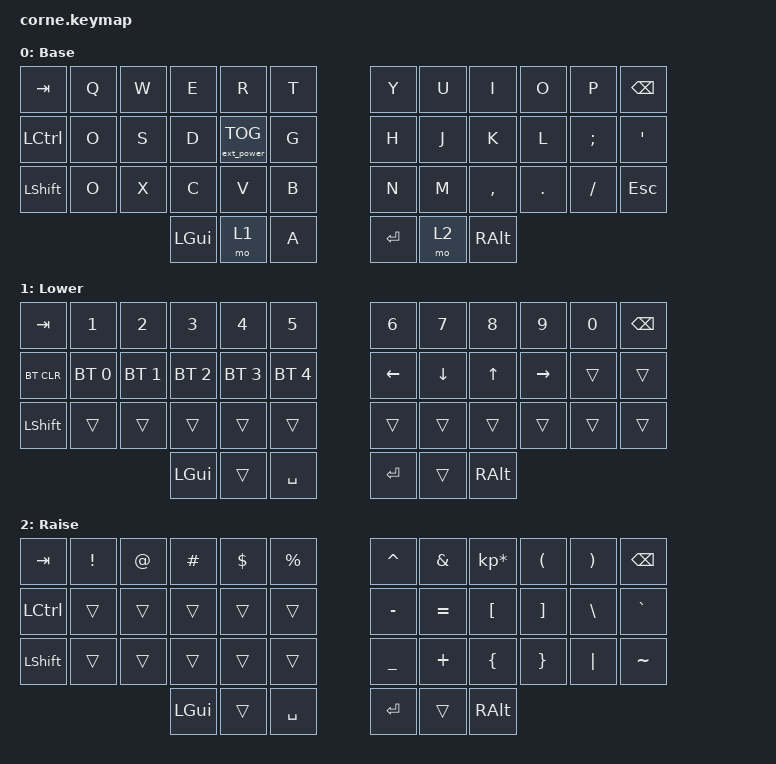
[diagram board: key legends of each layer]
/*
 * Copyright (c) 2020 The ZMK Contributors
 *
 * SPDX-License-Identifier: MIT
 */

#include <behaviors.dtsi>
#include <dt-bindings/zmk/keys.h>
#include <dt-bindings/zmk/bt.h>
#include <dt-bindings/zmk/ext_power.h>

&pinctrl {
    spi0_default: spi0_default {
        group1 {
            psels = <NRF_PSEL(SPIM_SCK, 0, 29)>,
                <NRF_PSEL(SPIM_MOSI, 0, 31)>,
                <NRF_PSEL(SPIM_MISO, 0, 25)>;
        };
    };
    spi0_sleep: spi0_sleep {
        group1 {
            psels = <NRF_PSEL(SPIM_SCK, 0, 29)>,
                <NRF_PSEL(SPIM_MOSI, 0, 31)>,
                <NRF_PSEL(SPIM_MISO, 0, 25)>;
            low-power-enable;
        };
    };
};

/ {
        keymap {
                compatible = "zmk,keymap";

                default_layer {
// -----------------------------------------------------------------------------------------
// |  TAB |  Q  |  W  |  E  |  R  |  T  |   |  Y  |  U   |  I  |  O  |  P  | BKSP |
// | CTRL |  A  |  S  |  D  |  F  |  G  |   |  H  |  J   |  K  |  L  |  ;  |  '   |
// | SHFT |  Z  |  X  |  C  |  V  |  B  |   |  N  |  M   |  ,  |  .  |  /  | ESC  |
//                    | GUI | LWR | SPC |   | ENT | RSE  | ALT |
                        display-name = "Base";
                        bindings = <
   &kp TAB   &kp Q &kp W &kp E &kp R &kp T   &kp Y &kp U  &kp I     &kp O   &kp P    &kp BSPC
   &kp LCTRL &kp O &kp S &kp D &ext_power EP_TOG &kp G   &kp H &kp J  &kp K     &kp L   &kp SEMI &kp SQT
   &kp LSHFT &kp O &kp X &kp C &kp V &kp B   &kp N &kp M  &kp COMMA &kp DOT &kp FSLH &kp ESC
                  &kp LGUI &mo 1 &kp A   &kp RET &mo 2 &kp RALT
                        >;
                };
                lower_layer {
// -----------------------------------------------------------------------------------------
// |  TAB |  1  |  2  |  3  |  4  |  5  |   |  6  |  7  |  8  |  9  |  0  | BKSP |
// | BTCLR| BT1 | BT2 | BT3 | BT4 | BT5 |   | LFT | DWN |  UP | RGT |     |      |
// | SHFT |     |     |     |     |     |   |     |     |     |     |     |      |
//                    | GUI |     | SPC |   | ENT |     | ALT |
                        display-name = "Lower";
                        bindings = <
   &kp TAB    &kp N1       &kp N2       &kp N3       &kp N4       &kp N5         &kp N6   &kp N7   &kp N8 &kp N9    &kp N0 &kp BSPC
   &bt BT_CLR &bt BT_SEL 0 &bt BT_SEL 1 &bt BT_SEL 2 &bt BT_SEL 3 &bt BT_SEL 4   &kp LEFT &kp DOWN &kp UP &kp RIGHT &trans &trans
   &kp LSHFT  &trans       &trans       &trans       &trans       &trans         &trans   &trans   &trans &trans    &trans &trans
                          	        &kp LGUI     &trans       &kp SPACE      &kp RET  &trans   &kp RALT
                        >;
                };

                raise_layer {
// -----------------------------------------------------------------------------------------
// |  TAB |  !  |  @  |  #  |  $  |  %  |   |  ^  |  &  |  *  |  (  |  )  | BKSP |
// | CTRL |     |     |     |     |     |   |  -  |  =  |  [  |  ]  |  \  |  `   |
// | SHFT |     |     |     |     |     |   |  _  |  +  |  {  |  }  | "|" |  ~   |
//                    | GUI |     | SPC |   | ENT |     | ALT |
                        display-name = "Raise";
                        bindings = <
   &kp  TAB  &kp EXCL &kp AT &kp HASH &kp DLLR &kp PRCNT   &kp CARET &kp AMPS  &kp KP_MULTIPLY &kp LPAR &kp RPAR &kp BSPC
   &kp LCTRL &trans   &trans &trans   &trans   &trans      &kp MINUS &kp EQUAL &kp LBKT        &kp RBKT &kp BSLH &kp GRAVE
   &kp LSHFT &trans   &trans &trans   &trans   &trans      &kp UNDER &kp PLUS  &kp LBRC        &kp RBRC &kp PIPE &kp TILDE
                    	     &kp LGUI &trans   &kp SPACE   &kp RET   &trans    &kp RALT
                        >;
                };

                extra_1 {
                        status = "reserved";
                };

                extra_2 {
                        status = "reserved";
                };

                extra_3 {
                        status = "reserved";
                };
        };
};
